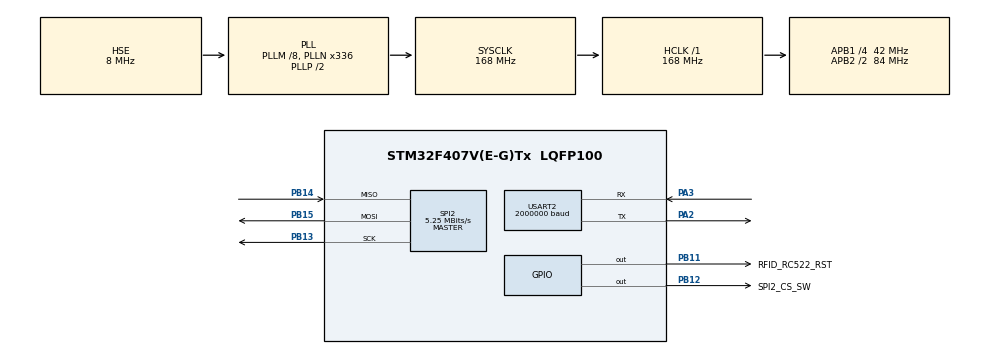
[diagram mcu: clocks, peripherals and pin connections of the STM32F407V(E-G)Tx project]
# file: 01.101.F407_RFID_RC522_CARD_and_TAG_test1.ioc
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Dma.Request0=USART2_TX
Dma.Request1=USART2_RX
Dma.USART2_RX.1.Direction=DMA_PERIPH_TO_MEMORY
Dma.USART2_RX.1.FIFOMode=DMA_FIFOMODE_DISABLE
Dma.USART2_RX.1.Instance=DMA1_Stream5
Dma.USART2_RX.1.MemDataAlignment=DMA_MDATAALIGN_BYTE
Dma.USART2_RX.1.MemInc=DMA_MINC_ENABLE
Dma.USART2_RX.1.Mode=DMA_CIRCULAR
Dma.USART2_RX.1.PeriphDataAlignment=DMA_PDATAALIGN_BYTE
Dma.USART2_RX.1.PeriphInc=DMA_PINC_DISABLE
Dma.USART2_RX.1.Priority=DMA_PRIORITY_LOW
Dma.USART2_TX.0.Direction=DMA_MEMORY_TO_PERIPH
Dma.USART2_TX.0.FIFOMode=DMA_FIFOMODE_DISABLE
Dma.USART2_TX.0.Instance=DMA1_Stream6
Dma.USART2_TX.0.MemDataAlignment=DMA_MDATAALIGN_BYTE
Dma.USART2_TX.0.MemInc=DMA_MINC_ENABLE
Dma.USART2_TX.0.Mode=DMA_NORMAL
Dma.USART2_TX.0.PeriphDataAlignment=DMA_PDATAALIGN_BYTE
Dma.USART2_TX.0.PeriphInc=DMA_PINC_DISABLE
Dma.USART2_TX.0.Priority=DMA_PRIORITY_LOW
Mcu.Family=STM32F4
Mcu.Name=STM32F407V(E-G)Tx
Mcu.Package=LQFP100
NVIC.DMA1_Stream5_IRQn=true\:0\:0\:false\:false\:true\:false\:true\:true
NVIC.DMA1_Stream6_IRQn=true\:0\:0\:false\:false\:true\:false\:true\:true
NVIC.PriorityGroup=NVIC_PRIORITYGROUP_0
NVIC.USART2_IRQn=true\:0\:0\:false\:false\:true\:true\:true\:true
PA2.Mode=Asynchronous
PA2.Signal=USART2_TX
PA3.Mode=Asynchronous
PA3.Signal=USART2_RX
PB11.GPIO_Label=RFID_RC522_RST
PB11.Signal=GPIO_Output
PB12.GPIO_Label=SPI2_CS_SW
PB12.Signal=GPIO_Output
PB13.Mode=Full_Duplex_Master
PB13.Signal=SPI2_SCK
PB14.Mode=Full_Duplex_Master
PB14.Signal=SPI2_MISO
PB15.Mode=Full_Duplex_Master
PB15.Signal=SPI2_MOSI
PH0-OSC_IN.Mode=HSE-External-Oscillator
PH0-OSC_IN.Signal=RCC_OSC_IN
PH1-OSC_OUT.Mode=HSE-External-Oscillator
PH1-OSC_OUT.Signal=RCC_OSC_OUT
ProjectManager.HeapSize=0x200
ProjectManager.StackSize=0x400
ProjectManager.TargetToolchain=STM32CubeIDE
RCC.48MHZClocksFreq_Value=48000000
RCC.AHBFreq_Value=168000000
RCC.APB1CLKDivider=RCC_HCLK_DIV4
RCC.APB1Freq_Value=42000000
RCC.APB1TimFreq_Value=84000000
RCC.APB2CLKDivider=RCC_HCLK_DIV2
RCC.APB2Freq_Value=84000000
RCC.APB2TimFreq_Value=168000000
RCC.CortexFreq_Value=168000000
RCC.HCLKFreq_Value=168000000
RCC.HSE_VALUE=8000000
RCC.HSI_VALUE=16000000
RCC.LSE_VALUE=32768
RCC.PLLM=8
RCC.PLLN=336
RCC.PLLQ=7
RCC.PLLSourceVirtual=RCC_PLLSOURCE_HSE
RCC.SYSCLKFreq_VALUE=168000000
RCC.SYSCLKSource=RCC_SYSCLKSOURCE_PLLCLK
RCC.VCOOutputFreq_Value=336000000
SPI2.BaudRatePrescaler=SPI_BAUDRATEPRESCALER_8
SPI2.CalculateBaudRate=5.25 MBits/s
SPI2.Direction=SPI_DIRECTION_2LINES
SPI2.Mode=SPI_MODE_MASTER
SPI2.VirtualType=VM_MASTER
USART2.BaudRate=2000000
USART2.VirtualMode=VM_ASYNC
board=STM32F407G-DISC1

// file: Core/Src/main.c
/* USER CODE BEGIN Header */
/**
  ******************************************************************************
  * @file           : main.c
  * @brief          : Main program body
  ******************************************************************************
  * @attention
  *
  * Copyright (c) 2025 STMicroelectronics.
  * All rights reserved.
  *
  * This software is licensed under terms that can be found in the LICENSE file
  * in the root directory of this software component.
  * If no LICENSE file comes with this software, it is provided AS-IS.
  *
  ******************************************************************************
  */
/* USER CODE END Header */
#include "main.h"

/* USER CODE BEGIN Includes */

#include "RC522.h"

#include <stdio.h>
#include <string.h>
#include <stddef.h>
#include <stdarg.h>
#include <stdbool.h>
#include <stdlib.h>
/* USER CODE END Includes */

SPI_HandleTypeDef hspi2;

UART_HandleTypeDef huart4;
DMA_HandleTypeDef hdma_usart2_tx;
DMA_HandleTypeDef hdma_usart2_rx;

/* USER CODE BEGIN PV */
uint8_t dma_rx_buffer[64];
uint16_t old_pos = 0;

uint8_t status;
uint8_t str[16];
uint8_t sNum[5];

char *msg1 = "Reading from CARD\r\n";
char *msg2 = "Reading from TAG\r\n";
/* USER CODE END PV */

void SystemClock_Config(void);
static void MX_GPIO_Init(void);
static void MX_DMA_Init(void);
static void MX_USART2_UART_Init(void);
static void MX_SPI2_Init(void);

/* USER CODE BEGIN 0 */
void DebugPrint(const char *format, ...)
{
    static char uartBuffer[250];  // <--- persists after function returns
    va_list args;
    va_start(args, format);
    vsnprintf(uartBuffer, sizeof(uartBuffer), format, args);
    va_end(args);

    HAL_UART_Transmit_DMA(&huart4, (uint8_t*)uartBuffer, strlen(uartBuffer));
}

void check_dma_data(void) {
    uint16_t pos = sizeof(dma_rx_buffer) - __HAL_DMA_GET_COUNTER(&hdma_usart2_rx);

    if (pos != old_pos) {
        if (pos > old_pos) {
            // Print new data
            for (uint16_t i = old_pos; i < pos; i++) {
                DebugPrint("\r\nGot: '%c' (0x%02X) at pos %d\r\n\r\n",
                       dma_rx_buffer[i], dma_rx_buffer[i], i);

            }
        }
        old_pos = pos;
    }
}

/* USER CODE END 0 */

int main(void)
{

  /* MCU Configuration--------------------------------------------------------*/

  /* Reset of all peripherals, Initializes the Flash interface and the Systick. */
  HAL_Init();

  /* Configure the system clock */
  SystemClock_Config();

  /* Initialize all configured peripherals */
  MX_GPIO_Init();
  MX_DMA_Init();
  MX_USART2_UART_Init();
  MX_SPI2_Init();
  /* USER CODE BEGIN 2 */
  MFRC522_Init();

  HAL_UART_Receive_DMA(&huart4, dma_rx_buffer, sizeof(dma_rx_buffer));

  /* USER CODE END 2 */

  /* Infinite loop */
  while (1)
  {

    /* USER CODE BEGIN 3 */
	  status = MFRC522_Request(PICC_REQIDL, str);
	  status = MFRC522_Anticoll(str);
	  memcpy(sNum,str,5);
	  HAL_Delay(200);

	  if(str[0] == 147 && str[1] == 32 && str[2] == 11 && str[3] == 179 && str[4] == 59)
	  {
		  DebugPrint("CARD\r\n");
		  memset(str,0,sizeof(str));
	  }

	  if(str[0] == 147 && str[1] == 32 && str[2] == 4 && str[3] == 185 && str[4] == 219)
	  {
		  DebugPrint("TAG\r\n");
		  memset(str,0,sizeof(str));
	  }
//	  check_dma_data();
  }
  /* USER CODE END 3 */
}

void SystemClock_Config(void)
{
  RCC_OscInitTypeDef RCC_OscInitStruct = {0};
  RCC_ClkInitTypeDef RCC_ClkInitStruct = {0};

  /** Configure the main internal regulator output voltage
  */
  __HAL_RCC_PWR_CLK_ENABLE();
  __HAL_PWR_VOLTAGESCALING_CONFIG(PWR_REGULATOR_VOLTAGE_SCALE1);

  /** Initializes the RCC Oscillators according to the specified parameters
  * in the RCC_OscInitTypeDef structure.
  */
  RCC_OscInitStruct.OscillatorType = RCC_OSCILLATORTYPE_HSE;
  RCC_OscInitStruct.HSEState = RCC_HSE_ON;
  RCC_OscInitStruct.PLL.PLLState = RCC_PLL_ON;
  RCC_OscInitStruct.PLL.PLLSource = RCC_PLLSOURCE_HSE;
  RCC_OscInitStruct.PLL.PLLM = 8;
  RCC_OscInitStruct.PLL.PLLN = 336;
  RCC_OscInitStruct.PLL.PLLP = RCC_PLLP_DIV2;
  RCC_OscInitStruct.PLL.PLLQ = 7;
  if (HAL_RCC_OscConfig(&RCC_OscInitStruct) != HAL_OK)
  {
    Error_Handler();
  }

  /** Initializes the CPU, AHB and APB buses clocks
  */
  RCC_ClkInitStruct.ClockType = RCC_CLOCKTYPE_HCLK|RCC_CLOCKTYPE_SYSCLK
                              |RCC_CLOCKTYPE_PCLK1|RCC_CLOCKTYPE_PCLK2;
  RCC_ClkInitStruct.SYSCLKSource = RCC_SYSCLKSOURCE_PLLCLK;
  RCC_ClkInitStruct.AHBCLKDivider = RCC_SYSCLK_DIV1;
  RCC_ClkInitStruct.APB1CLKDivider = RCC_HCLK_DIV4;
  RCC_ClkInitStruct.APB2CLKDivider = RCC_HCLK_DIV2;

  if (HAL_RCC_ClockConfig(&RCC_ClkInitStruct, FLASH_LATENCY_5) != HAL_OK)
  {
    Error_Handler();
  }
}

static void MX_SPI2_Init(void)
{

  /* SPI2 parameter configuration*/
  hspi2.Instance = SPI2;
  hspi2.Init.Mode = SPI_MODE_MASTER;
  hspi2.Init.Direction = SPI_DIRECTION_2LINES;
  hspi2.Init.DataSize = SPI_DATASIZE_8BIT;
  hspi2.Init.CLKPolarity = SPI_POLARITY_LOW;
  hspi2.Init.CLKPhase = SPI_PHASE_1EDGE;
  hspi2.Init.NSS = SPI_NSS_SOFT;
  hspi2.Init.BaudRatePrescaler = SPI_BAUDRATEPRESCALER_8;
  hspi2.Init.FirstBit = SPI_FIRSTBIT_MSB;
  hspi2.Init.TIMode = SPI_TIMODE_DISABLE;
  hspi2.Init.CRCCalculation = SPI_CRCCALCULATION_DISABLE;
  hspi2.Init.CRCPolynomial = 10;
  if (HAL_SPI_Init(&hspi2) != HAL_OK)
  {
    Error_Handler();
  }

}

static void MX_USART2_UART_Init(void)
{

  huart4.Instance = USART2;
  huart4.Init.BaudRate = 2000000;
  huart4.Init.WordLength = UART_WORDLENGTH_8B;
  huart4.Init.StopBits = UART_STOPBITS_1;
  huart4.Init.Parity = UART_PARITY_NONE;
  huart4.Init.Mode = UART_MODE_TX_RX;
  huart4.Init.HwFlowCtl = UART_HWCONTROL_NONE;
  huart4.Init.OverSampling = UART_OVERSAMPLING_16;
  if (HAL_UART_Init(&huart4) != HAL_OK)
  {
    Error_Handler();
  }

}

static void MX_DMA_Init(void)
{

  /* DMA controller clock enable */
  __HAL_RCC_DMA1_CLK_ENABLE();

  /* DMA interrupt init */
  /* DMA1_Stream5_IRQn interrupt configuration */
  HAL_NVIC_SetPriority(DMA1_Stream5_IRQn, 0, 0);
  HAL_NVIC_EnableIRQ(DMA1_Stream5_IRQn);
  /* DMA1_Stream6_IRQn interrupt configuration */
  HAL_NVIC_SetPriority(DMA1_Stream6_IRQn, 0, 0);
  HAL_NVIC_EnableIRQ(DMA1_Stream6_IRQn);

}

static void MX_GPIO_Init(void)
{
  GPIO_InitTypeDef GPIO_InitStruct = {0};

  /* GPIO Ports Clock Enable */
  __HAL_RCC_GPIOH_CLK_ENABLE();
  __HAL_RCC_GPIOA_CLK_ENABLE();
  __HAL_RCC_GPIOB_CLK_ENABLE();

  /*Configure GPIO pin Output Level */
  HAL_GPIO_WritePin(GPIOB, RFID_RC522_RST_Pin|SPI2_CS_SW_Pin, GPIO_PIN_RESET);

  /*Configure GPIO pins : RFID_RC522_RST_Pin SPI2_CS_SW_Pin */
  GPIO_InitStruct.Pin = RFID_RC522_RST_Pin|SPI2_CS_SW_Pin;
  GPIO_InitStruct.Mode = GPIO_MODE_OUTPUT_PP;
  GPIO_InitStruct.Pull = GPIO_NOPULL;
  GPIO_InitStruct.Speed = GPIO_SPEED_FREQ_LOW;
  HAL_GPIO_Init(GPIOB, &GPIO_InitStruct);

}

void Error_Handler(void)
{
  __disable_irq();
  while (1)
  {
  }
}
